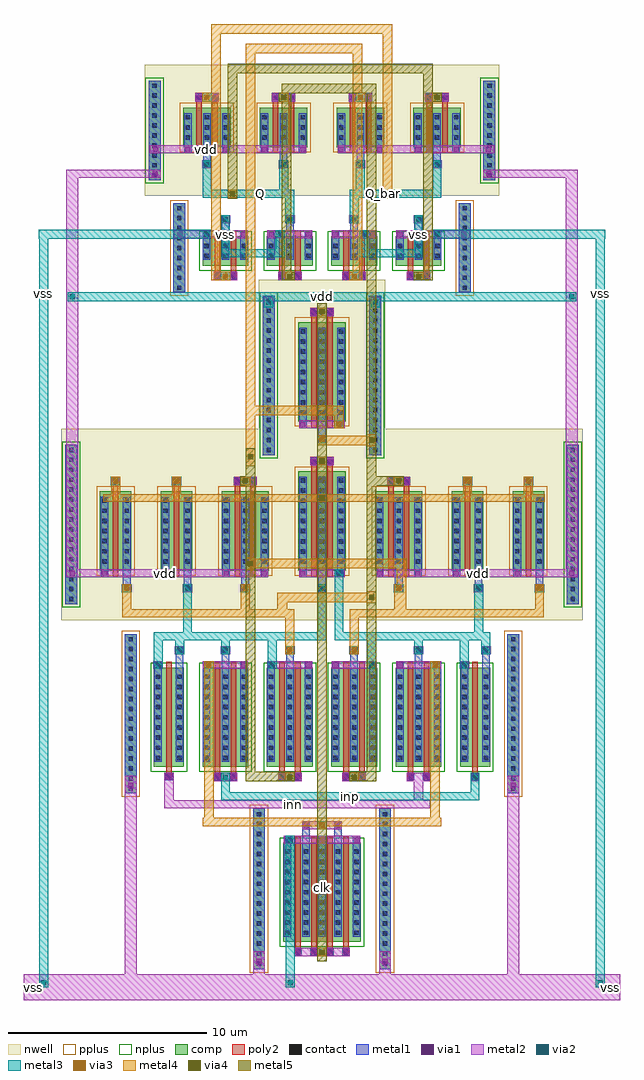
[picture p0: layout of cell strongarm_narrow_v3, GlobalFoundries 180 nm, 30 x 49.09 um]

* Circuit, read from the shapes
.subckt strongarm_narrow_v3 Q Q_bar clk inn inp vdd vss
XM1 n1 inn n1 vss nfet_03v3 w=5u l=0.28u
XM2 n1 inp n2 vss nfet_03v3 w=5u l=0.28u m=2
XM3 n3 Q_bar vss vss nfet_03v3 w=1.5u l=0.28u m=2
XM4 n4 n5 n1 vss nfet_03v3 w=5u l=0.28u m=2
XM5 Q n4 n3 vss nfet_03v3 w=1.5u l=0.28u m=2
XM6 n2 clk vss vss nfet_03v3 w=5u l=0.28u m=4
XM7 n5 n4 n6 vss nfet_03v3 w=5u l=0.28u m=2
XM8 Q_bar n5 n7 vss nfet_03v3 w=1.5u l=0.28u m=2
XM9 n6 inn n2 vss nfet_03v3 w=5u l=0.28u m=2
XM10 n7 Q vss vss nfet_03v3 w=1.5u l=0.28u m=2
XM11 n6 inp n6 vss nfet_03v3 w=5u l=0.28u
XM12 n4 clk vdd vdd pfet_03v3 w=4u l=0.28u
XM13 n1 clk vdd vdd pfet_03v3 w=4u l=0.28u
XM14 Q Q_bar vdd vdd pfet_03v3 w=2u l=0.28u m=2
XM15 n4 n5 vdd vdd pfet_03v3 w=4u l=0.28u m=2
XM16 Q n4 vdd vdd pfet_03v3 w=2u l=0.28u m=2
XM17 n1 clk n6 vdd pfet_03v3 w=5u l=0.28u m=2
XM18 n4 clk n5 vdd pfet_03v3 w=5u l=0.28u m=2
XM19 Q_bar n5 vdd vdd pfet_03v3 w=2u l=0.28u m=2
XM20 n5 n4 vdd vdd pfet_03v3 w=4u l=0.28u m=2
XM21 Q_bar Q vdd vdd pfet_03v3 w=2u l=0.28u m=2
XM22 n6 clk vdd vdd pfet_03v3 w=4u l=0.28u
XM23 n5 clk vdd vdd pfet_03v3 w=4u l=0.28u
.ends

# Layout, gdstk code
import gdstk
lib = gdstk.Library(unit=1e-6, precision=1e-09)
def R(c, l, rs):  # rectangles x0, y0, x1, y1
    for r in rs: c.add(gdstk.rectangle(r[:2], r[2:], *l))
def A(c, l, x, y, w, h, nx, ny, dx, dy):  # array of equal rectangles
    R(c, l, [(x+i*dx, y+j*dy, x+i*dx+w, y+j*dy+h) for i in range(nx) for j in range(ny)])
nwell = (21, 0)
comp = (22, 0)
poly2 = (30, 0)
pplus = (31, 0)
nplus = (32, 0)
contact = (33, 0)
metal1 = (34, 0)
via1 = (35, 0)
metal2 = (36, 0)
via2 = (38, 0)
via3 = (40, 0)
via4 = (41, 0)
metal3 = (42, 0)
metal4 = (46, 0)
metal5 = (81, 0)

strongarm_narrow_v3 = lib.new_cell('strongarm_narrow_v3')
A(strongarm_narrow_v3, nwell, 14.58, 41.8, 3.26, 2.88, 4, 1, 3.86, 0)
R(strongarm_narrow_v3, nwell, [(8.89,18.46,35.11,28.08), (10.39,20.5,12.85,25.38), (13.45,20.5,15.91,25.38), (16.51,20.5,19.77,25.38), (20.37,20.5,23.63,26.38), (24.23,20.5,27.49,25.38), (28.09,20.5,30.55,25.38), (31.15,20.5,33.61,25.38), (18.82,25.96,25.18,35.58), (20.37,28,23.63,33.88), (13.08,39.79,30.92,46.38)])
A(strongarm_narrow_v3, comp, 16.41, 11.07, 1.46, 5, 4, 1, 3.24, 0)
A(strongarm_narrow_v3, comp, 16.41, 36.27, 1.46, 1.5, 4, 1, 3.24, 0)
A(strongarm_narrow_v3, comp, 15.48, 42.24, 1.46, 2, 4, 1, 3.86, 0)
R(strongarm_narrow_v3, comp, [(18.53,0.89,19.13,9), (24.87,0.89,25.47,9), (20.05,2.27,20.47,7.27), (20.47,2.27,23.53,7.27), (23.53,2.27,23.95,7.27), (12.08,9.74,12.68,17.75), (31.32,9.74,31.92,17.75), (13.55,11.07,13.97,16.07), (13.97,11.07,14.63,16.07), (14.63,11.07,15.05,16.07), (15.99,11.07,16.41,16.07), (17.87,11.07,18.29,16.07), (19.23,11.07,19.65,16.07), (21.11,11.07,21.53,16.07), (22.47,11.07,22.89,16.07), (24.35,11.07,24.77,16.07), (25.71,11.07,26.13,16.07), (27.59,11.07,28.01,16.07), (28.95,11.07,29.37,16.07), (29.37,11.07,30.03,16.07), (30.03,11.07,30.45,16.07), (9.09,19.26,9.69,27.28), (34.31,19.26,34.91,27.28), (10.83,20.94,11.29,24.94), (11.29,20.94,11.95,24.94), (11.95,20.94,12.41,24.94), (13.89,20.94,14.35,24.94), (14.35,20.94,15.01,24.94), (15.01,20.94,15.47,24.94), (16.95,20.94,17.41,24.94), (17.41,20.94,18.87,24.94), (18.87,20.94,19.33,24.94), (20.81,20.94,21.27,25.94), (21.27,20.94,22.73,25.94), (22.73,20.94,23.19,25.94), (24.67,20.94,25.13,24.94), (25.13,20.94,26.59,24.94), (26.59,20.94,27.05,24.94), (28.53,20.94,28.99,24.94), (28.99,20.94,29.65,24.94), (29.65,20.94,30.11,24.94), (31.59,20.94,32.05,24.94), (32.05,20.94,32.71,24.94), (32.71,20.94,33.17,24.94), (19.02,26.76,19.62,34.78), (24.38,26.76,24.98,34.78), (20.81,28.44,21.27,33.44), (21.27,28.44,22.73,33.44), (22.73,28.44,23.19,33.44), (14.52,34.94,15.12,39.415), (28.88,34.94,29.48,39.415), (15.99,36.27,16.41,37.77), (17.87,36.27,18.29,37.77), (19.23,36.27,19.65,37.77), (21.11,36.27,21.53,37.77), (22.47,36.27,22.89,37.77), (24.35,36.27,24.77,37.77), (25.71,36.27,26.13,37.77), (27.59,36.27,28.01,37.77), (13.28,40.59,13.88,45.58), (30.12,40.59,30.72,45.58), (15.02,42.24,15.48,44.24), (16.94,42.24,17.4,44.24), (18.88,42.24,19.34,44.24), (20.8,42.24,21.26,44.24), (22.74,42.24,23.2,44.24), (24.66,42.24,25.12,44.24), (26.6,42.24,27.06,44.24), (28.52,42.24,28.98,44.24)])
A(strongarm_narrow_v3, poly2, 20.62, 1.61, 0.36, 0.36, 4, 1, 0.8, 0)
A(strongarm_narrow_v3, poly2, 20.66, 1.97, 0.28, 5.6, 4, 1, 0.8, 0)
A(strongarm_narrow_v3, poly2, 11.48, 20.64, 0.28, 4.6, 3, 1, 3.06, 0)
A(strongarm_narrow_v3, poly2, 26.12, 20.64, 0.28, 4.6, 3, 1, 3.06, 0)
A(strongarm_narrow_v3, poly2, 11.43, 25.24, 0.38, 0.38, 3, 1, 3.06, 0)
A(strongarm_narrow_v3, poly2, 26.07, 25.24, 0.38, 0.38, 3, 1, 3.06, 0)
R(strongarm_narrow_v3, poly2, [(14.12,10.41,14.48,10.77), (16.56,10.41,16.92,10.77), (17.36,10.41,17.72,10.77), (19.8,10.41,20.16,10.77), (20.6,10.41,20.96,10.77), (23.04,10.41,23.4,10.77), (23.84,10.41,24.2,10.77), (26.28,10.41,26.64,10.77), (27.08,10.41,27.44,10.77), (29.52,10.41,29.88,10.77), (14.16,10.77,14.44,16.37), (16.6,10.77,16.88,16.37), (17.4,10.77,17.68,16.37), (19.84,10.77,20.12,16.37), (20.64,10.77,20.92,16.37), (23.08,10.77,23.36,16.37), (23.88,10.77,24.16,16.37), (26.32,10.77,26.6,16.37), (27.12,10.77,27.4,16.37), (29.56,10.77,29.84,16.37), (18.4,20.64,18.68,25.24), (21.46,20.64,21.74,26.24), (22.26,20.64,22.54,26.24), (25.32,20.64,25.6,25.24), (18.35,25.24,18.73,25.62), (25.27,25.24,25.65,25.62), (21.41,26.24,21.79,26.62), (22.21,26.24,22.59,26.62), (21.46,28.14,21.74,33.74), (22.26,28.14,22.54,33.74), (21.41,33.74,21.79,34.12), (22.21,33.74,22.59,34.12), (16.56,35.61,16.92,35.97), (17.36,35.61,17.72,35.97), (19.8,35.61,20.16,35.97), (20.6,35.61,20.96,35.97), (23.04,35.61,23.4,35.97), (23.84,35.61,24.2,35.97), (26.28,35.61,26.64,35.97), (27.08,35.61,27.44,35.97), (16.6,35.97,16.88,38.07), (17.4,35.97,17.68,38.07), (19.84,35.97,20.12,38.07), (20.64,35.97,20.92,38.07), (23.08,35.97,23.36,38.07), (23.88,35.97,24.16,38.07), (26.32,35.97,26.6,38.07), (27.12,35.97,27.4,38.07), (15.67,41.94,15.95,44.54), (16.47,41.94,16.75,44.54), (19.53,41.94,19.81,44.54), (20.33,41.94,20.61,44.54), (23.39,41.94,23.67,44.54), (24.19,41.94,24.47,44.54), (27.25,41.94,27.53,44.54), (28.05,41.94,28.33,44.54), (15.62,44.54,16,44.92), (16.42,44.54,16.8,44.92), (19.48,44.54,19.86,44.92), (20.28,44.54,20.66,44.92), (23.34,44.54,23.72,44.92), (24.14,44.54,24.52,44.92), (27.2,44.54,27.58,44.92), (28,44.54,28.38,44.92)])
A(strongarm_narrow_v3, pplus, 14.85, 42, 2.72, 2.48, 4, 1, 3.86, 0)
R(strongarm_narrow_v3, pplus, [(18.37,0.73,19.29,9.16), (24.71,0.73,25.63,9.16), (11.92,9.58,12.84,17.91), (31.16,9.58,32.08,17.91), (10.66,20.7,12.58,25.18), (13.72,20.7,15.64,25.18), (16.78,20.7,19.5,25.18), (20.64,20.7,23.36,26.18), (24.5,20.7,27.22,25.18), (28.36,20.7,30.28,25.18), (31.42,20.7,33.34,25.18), (20.64,28.2,23.36,33.68), (14.36,34.78,15.28,39.575), (28.72,34.78,29.64,39.575)])
A(strongarm_narrow_v3, nplus, 15.82, 10.83, 2.64, 5.48, 4, 1, 3.24, 0)
A(strongarm_narrow_v3, nplus, 15.82, 36.03, 2.64, 1.98, 4, 1, 3.24, 0)
R(strongarm_narrow_v3, nplus, [(19.88,2.03,24.12,7.51), (13.38,10.83,15.22,16.31), (28.78,10.83,30.62,16.31), (8.93,19.1,9.85,27.44), (34.15,19.1,35.07,27.44), (18.86,26.6,19.78,34.94), (24.22,26.6,25.14,34.94), (13.12,40.43,14.04,45.74), (29.96,40.43,30.88,45.74)])
A(strongarm_narrow_v3, contact, 18.72, 1.085, 0.22, 0.22, 1, 16, 0, 0.5)
A(strongarm_narrow_v3, contact, 25.06, 1.085, 0.22, 0.22, 1, 16, 0, 0.5)
A(strongarm_narrow_v3, contact, 20.69, 1.68, 0.22, 0.22, 4, 1, 0.8, 0)
A(strongarm_narrow_v3, contact, 20.15, 2.62, 0.22, 0.22, 1, 9, 0, 0.51)
A(strongarm_narrow_v3, contact, 21.09, 2.62, 0.22, 0.22, 3, 9, 0.8, 0.51)
A(strongarm_narrow_v3, contact, 23.63, 2.62, 0.22, 0.22, 1, 9, 0, 0.51)
A(strongarm_narrow_v3, contact, 12.27, 9.885, 0.22, 0.22, 1, 16, 0, 0.5)
A(strongarm_narrow_v3, contact, 31.51, 9.885, 0.22, 0.22, 1, 16, 0, 0.5)
A(strongarm_narrow_v3, contact, 13.65, 11.42, 0.22, 0.22, 1, 9, 0, 0.51)
A(strongarm_narrow_v3, contact, 14.73, 11.42, 0.22, 0.22, 1, 9, 0, 0.51)
A(strongarm_narrow_v3, contact, 16.09, 11.42, 0.22, 0.22, 3, 9, 0.94, 0.51)
A(strongarm_narrow_v3, contact, 19.33, 11.42, 0.22, 0.22, 3, 9, 0.94, 0.51)
A(strongarm_narrow_v3, contact, 22.57, 11.42, 0.22, 0.22, 3, 9, 0.94, 0.51)
A(strongarm_narrow_v3, contact, 25.81, 11.42, 0.22, 0.22, 3, 9, 0.94, 0.51)
A(strongarm_narrow_v3, contact, 29.05, 11.42, 0.22, 0.22, 1, 9, 0, 0.51)
A(strongarm_narrow_v3, contact, 30.13, 11.42, 0.22, 0.22, 1, 9, 0, 0.51)
A(strongarm_narrow_v3, contact, 9.28, 19.41, 0.22, 0.22, 1, 16, 0, 0.5)
A(strongarm_narrow_v3, contact, 34.5, 19.41, 0.22, 0.22, 1, 16, 0, 0.5)
A(strongarm_narrow_v3, contact, 20.93, 21.29, 0.22, 0.22, 3, 9, 0.96, 0.51)
A(strongarm_narrow_v3, contact, 10.95, 21.3, 0.22, 0.22, 1, 7, 0, 0.51)
A(strongarm_narrow_v3, contact, 12.07, 21.3, 0.22, 0.22, 1, 7, 0, 0.51)
A(strongarm_narrow_v3, contact, 14.01, 21.3, 0.22, 0.22, 1, 7, 0, 0.51)
A(strongarm_narrow_v3, contact, 15.13, 21.3, 0.22, 0.22, 1, 7, 0, 0.51)
A(strongarm_narrow_v3, contact, 17.07, 21.3, 0.22, 0.22, 3, 7, 0.96, 0.51)
A(strongarm_narrow_v3, contact, 24.79, 21.3, 0.22, 0.22, 3, 7, 0.96, 0.51)
A(strongarm_narrow_v3, contact, 28.65, 21.3, 0.22, 0.22, 1, 7, 0, 0.51)
A(strongarm_narrow_v3, contact, 29.77, 21.3, 0.22, 0.22, 1, 7, 0, 0.51)
A(strongarm_narrow_v3, contact, 31.71, 21.3, 0.22, 0.22, 1, 7, 0, 0.51)
A(strongarm_narrow_v3, contact, 32.83, 21.3, 0.22, 0.22, 1, 7, 0, 0.51)
A(strongarm_narrow_v3, contact, 11.51, 25.32, 0.22, 0.22, 3, 1, 3.06, 0)
A(strongarm_narrow_v3, contact, 26.15, 25.32, 0.22, 0.22, 3, 1, 3.06, 0)
A(strongarm_narrow_v3, contact, 19.21, 26.91, 0.22, 0.22, 1, 16, 0, 0.5)
A(strongarm_narrow_v3, contact, 24.57, 26.91, 0.22, 0.22, 1, 16, 0, 0.5)
A(strongarm_narrow_v3, contact, 20.93, 28.79, 0.22, 0.22, 3, 9, 0.96, 0.51)
A(strongarm_narrow_v3, contact, 14.71, 35.065, 0.22, 0.22, 1, 9, 0, 0.5)
A(strongarm_narrow_v3, contact, 29.07, 35.065, 0.22, 0.22, 1, 9, 0, 0.5)
A(strongarm_narrow_v3, contact, 16.09, 36.655, 0.22, 0.22, 3, 2, 0.94, 0.51)
A(strongarm_narrow_v3, contact, 19.33, 36.655, 0.22, 0.22, 3, 2, 0.94, 0.51)
A(strongarm_narrow_v3, contact, 22.57, 36.655, 0.22, 0.22, 3, 2, 0.94, 0.51)
A(strongarm_narrow_v3, contact, 25.81, 36.655, 0.22, 0.22, 3, 2, 0.94, 0.51)
A(strongarm_narrow_v3, contact, 13.47, 40.725, 0.22, 0.22, 1, 10, 0, 0.5)
A(strongarm_narrow_v3, contact, 30.31, 40.725, 0.22, 0.22, 1, 10, 0, 0.5)
A(strongarm_narrow_v3, contact, 15.14, 42.62, 0.22, 0.22, 3, 3, 0.96, 0.51)
A(strongarm_narrow_v3, contact, 19, 42.62, 0.22, 0.22, 3, 3, 0.96, 0.51)
A(strongarm_narrow_v3, contact, 22.86, 42.62, 0.22, 0.22, 3, 3, 0.96, 0.51)
A(strongarm_narrow_v3, contact, 26.72, 42.62, 0.22, 0.22, 3, 3, 0.96, 0.51)
R(strongarm_narrow_v3, contact, [(14.19,10.48,14.41,10.7), (16.63,10.48,16.85,10.7), (17.43,10.48,17.65,10.7), (19.87,10.48,20.09,10.7), (20.67,10.48,20.89,10.7), (23.11,10.48,23.33,10.7), (23.91,10.48,24.13,10.7), (26.35,10.48,26.57,10.7), (27.15,10.48,27.37,10.7), (29.59,10.48,29.81,10.7), (18.43,25.32,18.65,25.54), (25.35,25.32,25.57,25.54), (21.49,26.32,21.71,26.54), (22.29,26.32,22.51,26.54), (21.49,33.82,21.71,34.04), (22.29,33.82,22.51,34.04), (16.63,35.68,16.85,35.9), (17.43,35.68,17.65,35.9), (19.87,35.68,20.09,35.9), (20.67,35.68,20.89,35.9), (23.11,35.68,23.33,35.9), (23.91,35.68,24.13,35.9), (26.35,35.68,26.57,35.9), (27.15,35.68,27.37,35.9), (15.7,44.62,15.92,44.84), (16.5,44.62,16.72,44.84), (19.56,44.62,19.78,44.84), (20.36,44.62,20.58,44.84), (23.42,44.62,23.64,44.84), (24.22,44.62,24.44,44.84), (27.28,44.62,27.5,44.84), (28.08,44.62,28.3,44.84)])
A(strongarm_narrow_v3, metal1, 20.61, 1.6, 0.38, 0.38, 4, 1, 0.8, 0)
A(strongarm_narrow_v3, metal1, 21.01, 2.54, 0.38, 4.46, 3, 1, 0.8, 0)
A(strongarm_narrow_v3, metal1, 20.07, 6.95, 0.38, 0.65, 3, 1, 1.74, 0)
A(strongarm_narrow_v3, metal1, 16.01, 11.34, 0.38, 4.46, 3, 1, 0.94, 0)
A(strongarm_narrow_v3, metal1, 19.25, 11.34, 0.38, 4.46, 3, 1, 0.94, 0)
A(strongarm_narrow_v3, metal1, 22.49, 11.34, 0.38, 4.46, 3, 1, 0.94, 0)
A(strongarm_narrow_v3, metal1, 25.73, 11.34, 0.38, 4.46, 3, 1, 0.94, 0)
A(strongarm_narrow_v3, metal1, 16.95, 15.75, 0.38, 1.4, 4, 2, 3.24, 21.665)
A(strongarm_narrow_v3, metal1, 10.87, 20.62, 0.38, 0.65, 3, 1, 3.06, 0)
A(strongarm_narrow_v3, metal1, 20.85, 21.21, 0.38, 4.46, 3, 2, 0.96, 7.5)
A(strongarm_narrow_v3, metal1, 16.99, 21.22, 0.38, 3.44, 3, 1, 0.96, 0)
A(strongarm_narrow_v3, metal1, 24.71, 21.22, 0.38, 3.44, 3, 1, 0.96, 0)
A(strongarm_narrow_v3, metal1, 11.43, 25.24, 0.38, 0.38, 3, 1, 3.06, 0)
A(strongarm_narrow_v3, metal1, 26.07, 25.24, 0.38, 0.38, 3, 1, 3.06, 0)
A(strongarm_narrow_v3, metal1, 16.01, 36.575, 0.38, 0.89, 3, 1, 0.94, 0)
A(strongarm_narrow_v3, metal1, 19.25, 36.575, 0.38, 0.89, 3, 1, 0.94, 0)
A(strongarm_narrow_v3, metal1, 22.49, 36.575, 0.38, 0.89, 3, 1, 0.94, 0)
A(strongarm_narrow_v3, metal1, 25.73, 36.575, 0.38, 0.89, 3, 1, 0.94, 0)
A(strongarm_narrow_v3, metal1, 16.02, 41.19, 0.38, 1.4, 4, 1, 3.86, 0)
A(strongarm_narrow_v3, metal1, 15.06, 42.54, 0.38, 1.4, 3, 1, 0.96, 0)
A(strongarm_narrow_v3, metal1, 18.92, 42.54, 0.38, 1.4, 3, 1, 0.96, 0)
A(strongarm_narrow_v3, metal1, 22.78, 42.54, 0.38, 1.4, 3, 1, 0.96, 0)
A(strongarm_narrow_v3, metal1, 26.64, 42.54, 0.38, 1.4, 3, 1, 0.96, 0)
R(strongarm_narrow_v3, metal1, [(18.53,0.89,19.13,9), (24.87,0.89,25.47,9), (20.07,2.54,20.45,7), (23.55,2.54,23.93,7), (21.01,6.95,21.39,8.35), (22.61,6.95,22.99,8.35), (12.08,9.74,12.68,17.75), (31.32,9.74,31.92,17.75), (14.11,10.4,14.49,10.78), (16.55,10.4,16.93,10.78), (17.35,10.4,17.73,10.78), (19.79,10.4,20.17,10.78), (20.59,10.4,20.97,10.78), (23.03,10.4,23.41,10.78), (23.83,10.4,24.21,10.78), (26.27,10.4,26.65,10.78), (27.07,10.4,27.45,10.78), (29.51,10.4,29.89,10.78), (13.57,11.34,13.95,15.8), (14.65,11.34,15.03,15.8), (28.97,11.34,29.35,15.8), (30.05,11.34,30.43,15.8), (13.57,15.75,13.95,16.4), (14.65,15.75,15.03,17.15), (16.01,15.75,16.39,16.4), (17.89,15.75,18.27,16.4), (19.25,15.75,19.63,16.4), (21.13,15.75,21.51,16.4), (22.49,15.75,22.87,16.4), (24.37,15.75,24.75,16.4), (25.73,15.75,26.11,16.4), (27.61,15.75,27.99,16.4), (28.97,15.75,29.35,16.4), (30.05,15.75,30.43,17.15), (9.09,19.26,9.69,27.28), (34.31,19.26,34.91,27.28), (21.81,19.86,22.19,21.26), (11.99,19.87,12.37,21.27), (15.05,19.87,15.43,21.27), (17.95,19.87,18.33,21.27), (25.67,19.87,26.05,21.27), (29.69,19.87,30.07,21.27), (32.75,19.87,33.13,21.27), (20.85,20.61,21.23,21.26), (22.77,20.61,23.15,21.26), (18.91,20.62,19.29,21.27), (24.71,20.62,25.09,21.27), (26.63,20.62,27.01,21.27), (28.57,20.62,28.95,21.27), (31.63,20.62,32.01,21.27), (10.87,21.22,11.25,24.66), (11.99,21.22,12.37,24.66), (13.93,21.22,14.31,24.66), (15.05,21.22,15.43,24.66), (28.57,21.22,28.95,24.66), (29.69,21.22,30.07,24.66), (31.63,21.22,32.01,24.66), (32.75,21.22,33.13,24.66), (18.35,25.24,18.73,25.62), (25.27,25.24,25.65,25.62), (21.41,26.24,21.79,26.62), (22.21,26.24,22.59,26.62), (19.02,26.76,19.62,34.78), (24.38,26.76,24.98,34.78), (21.81,27.36,22.19,28.76), (20.85,28.11,21.23,28.76), (22.77,28.11,23.15,28.76), (21.41,33.74,21.79,34.12), (22.21,33.74,22.59,34.12), (14.52,34.94,15.12,39.415), (28.88,34.94,29.48,39.415), (16.55,35.6,16.93,35.98), (17.35,35.6,17.73,35.98), (19.79,35.6,20.17,35.98), (20.59,35.6,20.97,35.98), (23.03,35.6,23.41,35.98), (23.83,35.6,24.21,35.98), (26.27,35.6,26.65,35.98), (27.07,35.6,27.45,35.98), (16.01,37.415,16.39,38.065), (17.89,37.415,18.27,38.065), (19.25,37.415,19.63,38.065), (21.13,37.415,21.51,38.065), (22.49,37.415,22.87,38.065), (24.37,37.415,24.75,38.065), (25.73,37.415,26.11,38.065), (27.61,37.415,27.99,38.065), (13.28,40.59,13.88,45.58), (30.12,40.59,30.72,45.58), (15.06,41.94,15.44,42.59), (16.98,41.94,17.36,42.59), (18.92,41.94,19.3,42.59), (20.84,41.94,21.22,42.59), (22.78,41.94,23.16,42.59), (24.7,41.94,25.08,42.59), (26.64,41.94,27.02,42.59), (28.56,41.94,28.94,42.59), (15.62,44.54,16,44.92), (16.42,44.54,16.8,44.92), (19.48,44.54,19.86,44.92), (20.28,44.54,20.66,44.92), (23.34,44.54,23.72,44.92), (24.14,44.54,24.52,44.92), (27.2,44.54,27.58,44.92), (28,44.54,28.38,44.92)])
A(strongarm_narrow_v3, via1, 20.67, 1.66, 0.26, 0.26, 4, 1, 0.8, 0)
A(strongarm_narrow_v3, via1, 20.13, 7.27, 0.26, 0.26, 3, 1, 1.74, 0)
A(strongarm_narrow_v3, via1, 17.01, 16.82, 0.26, 0.26, 4, 2, 3.24, 21.665)
A(strongarm_narrow_v3, via1, 10.93, 20.69, 0.26, 0.26, 3, 1, 3.06, 0)
A(strongarm_narrow_v3, via1, 11.49, 25.3, 0.26, 0.26, 3, 1, 3.06, 0)
A(strongarm_narrow_v3, via1, 26.13, 25.3, 0.26, 0.26, 3, 1, 3.06, 0)
A(strongarm_narrow_v3, via1, 16.08, 41.26, 0.26, 0.26, 4, 1, 3.86, 0)
R(strongarm_narrow_v3, via1, [(18.7,1.16,18.96,1.42), (25.04,1.16,25.3,1.42), (21.07,8.02,21.33,8.28), (22.67,8.02,22.93,8.28), (12.25,10.01,12.51,10.27), (31.49,10.01,31.75,10.27), (14.17,10.46,14.43,10.72), (16.61,10.46,16.87,10.72), (17.41,10.46,17.67,10.72), (19.85,10.46,20.11,10.72), (20.65,10.46,20.91,10.72), (23.09,10.46,23.35,10.72), (23.89,10.46,24.15,10.72), (26.33,10.46,26.59,10.72), (27.13,10.46,27.39,10.72), (29.57,10.46,29.83,10.72), (13.63,16.07,13.89,16.33), (16.07,16.07,16.33,16.33), (17.95,16.07,18.21,16.33), (19.31,16.07,19.57,16.33), (21.19,16.07,21.45,16.33), (22.55,16.07,22.81,16.33), (24.43,16.07,24.69,16.33), (25.79,16.07,26.05,16.33), (27.67,16.07,27.93,16.33), (29.03,16.07,29.29,16.33), (14.71,16.82,14.97,17.08), (30.11,16.82,30.37,17.08), (21.87,19.93,22.13,20.19), (12.05,19.94,12.31,20.2), (15.11,19.94,15.37,20.2), (18.01,19.94,18.27,20.2), (25.73,19.94,25.99,20.2), (29.75,19.94,30.01,20.2), (32.81,19.94,33.07,20.2), (20.91,20.68,21.17,20.94), (22.83,20.68,23.09,20.94), (9.31,20.69,9.57,20.95), (18.97,20.69,19.23,20.95), (24.77,20.69,25.03,20.95), (26.69,20.69,26.95,20.95), (28.63,20.69,28.89,20.95), (31.69,20.69,31.95,20.95), (34.43,20.69,34.69,20.95), (18.41,25.3,18.67,25.56), (25.33,25.3,25.59,25.56), (21.47,26.3,21.73,26.56), (22.27,26.3,22.53,26.56), (21.87,27.43,22.13,27.69), (20.91,28.18,21.17,28.44), (22.83,28.18,23.09,28.44), (21.47,33.8,21.73,34.06), (22.27,33.8,22.53,34.06), (19.19,34.32,19.45,34.58), (24.55,34.32,24.81,34.58), (16.61,35.66,16.87,35.92), (17.41,35.66,17.67,35.92), (19.85,35.66,20.11,35.92), (20.65,35.66,20.91,35.92), (23.09,35.66,23.35,35.92), (23.89,35.66,24.15,35.92), (26.33,35.66,26.59,35.92), (27.13,35.66,27.39,35.92), (14.74,37.735,15,37.995), (16.07,37.735,16.33,37.995), (17.95,37.735,18.21,37.995), (19.31,37.735,19.57,37.995), (21.19,37.735,21.45,37.995), (22.55,37.735,22.81,37.995), (24.43,37.735,24.69,37.995), (25.79,37.735,26.05,37.995), (27.67,37.735,27.93,37.995), (29,37.735,29.26,37.995), (13.475,40.77,13.735,41.03), (30.265,40.77,30.525,41.03), (13.5,42.01,13.76,42.27), (15.12,42.01,15.38,42.27), (17.04,42.01,17.3,42.27), (18.98,42.01,19.24,42.27), (20.9,42.01,21.16,42.27), (22.84,42.01,23.1,42.27), (24.76,42.01,25.02,42.27), (26.7,42.01,26.96,42.27), (28.62,42.01,28.88,42.27), (30.24,42.01,30.5,42.27), (15.68,44.6,15.94,44.86), (16.48,44.6,16.74,44.86), (19.54,44.6,19.8,44.86), (20.34,44.6,20.6,44.86), (23.4,44.6,23.66,44.86), (24.2,44.6,24.46,44.86), (27.26,44.6,27.52,44.86), (28.06,44.6,28.32,44.86)])
A(strongarm_narrow_v3, metal2, 16.55, 10.34, 1.18, 0.44, 4, 2, 3.24, 25.2)
A(strongarm_narrow_v3, metal2, 16.01, 16, 2.26, 0.4, 4, 2, 3.24, 21.665)
A(strongarm_narrow_v3, metal2, 16.9, 16.75, 0.48, 0.4, 4, 2, 3.24, 21.665)
A(strongarm_narrow_v3, metal2, 16.95, 16.75, 0.38, 0.4, 4, 2, 3.24, 21.665)
A(strongarm_narrow_v3, metal2, 16.9, 35.54, 0.48, 0.44, 4, 1, 3.24, 0)
A(strongarm_narrow_v3, metal2, 15.97, 41.19, 0.48, 0.4, 4, 1, 3.86, 0)
A(strongarm_narrow_v3, metal2, 16.02, 41.19, 0.38, 0.4, 4, 1, 3.86, 0)
A(strongarm_narrow_v3, metal2, 15.06, 41.94, 2.3, 0.4, 4, 1, 3.86, 0)
A(strongarm_narrow_v3, metal2, 15.62, 44.54, 1.18, 0.44, 4, 1, 3.86, 0)
A(strongarm_narrow_v3, metal2, 15.97, 44.54, 0.48, 0.44, 4, 1, 3.86, 0)
R(strongarm_narrow_v3, metal2, [(7,-0.65,37,0.65), (12.08,0,12.68,10.64), (18.53,0,19.13,1.79), (20.15,0,20.65,0.3), (24.87,0,25.47,1.79), (31.32,0,31.92,10.64), (20.61,1.54,23.39,1.98), (21.76,1.54,22.24,1.98), (20.07,7.2,23.93,7.6), (21.01,7.95,22.99,8.35), (14.06,9,14.54,10.78), (14.11,9,27.45,9.4), (26.62,9,27.1,10.78), (14.11,10.34,14.49,10.78), (20.14,10.34,20.62,10.78), (23.38,10.34,23.86,10.78), (29.51,10.34,29.89,10.78), (13.52,16,14,16.4), (13.57,16,13.95,16.4), (19.26,16,19.74,16.4), (24.26,16,24.74,16.4), (28.92,16,29.4,16.4), (28.97,16,29.35,16.4), (14.6,16.75,15.08,17.15), (14.65,16.75,15.03,17.15), (30,16.75,30.48,17.15), (30.05,16.75,30.43,17.15), (21.76,19.86,22.24,20.26), (21.81,19.86,22.19,20.26), (11.94,19.87,12.42,20.27), (11.99,19.87,12.37,20.27), (15,19.87,15.48,20.27), (15.05,19.87,15.43,20.27), (17.9,19.87,18.38,20.27), (17.95,19.87,18.33,20.27), (25.62,19.87,26.1,20.27), (25.67,19.87,26.05,20.27), (29.64,19.87,30.12,20.27), (29.69,19.87,30.07,20.27), (32.7,19.87,33.18,20.27), (32.75,19.87,33.13,20.27), (20.85,20.61,23.15,21.01), (22.61,20.61,23.09,21.01), (9.14,20.62,9.74,41.1), (9.14,20.62,10.87,21.02), (10.87,20.62,11.25,21.02), (10.87,20.62,19.29,21.02), (13.93,20.62,14.31,21.02), (16.99,20.62,19.29,21.02), (24.71,20.62,27.01,21.02), (24.71,20.62,33.13,21.02), (28.57,20.62,28.95,21.02), (31.63,20.62,32.01,21.02), (33.13,20.62,34.86,21.02), (34.26,20.62,34.86,41.1), (11.38,25.24,11.86,25.68), (11.43,25.24,11.81,25.68), (14.44,25.24,14.92,25.68), (14.49,25.24,14.87,25.68), (17.55,25.24,18.73,25.68), (17.9,25.24,18.38,25.68), (25.27,25.24,26.45,25.68), (25.62,25.24,26.1,25.68), (29.08,25.24,29.56,25.68), (29.13,25.24,29.51,25.68), (32.14,25.24,32.62,25.68), (32.19,25.24,32.57,25.68), (21.41,26.24,22.59,26.68), (21.76,26.24,22.24,26.68), (21.76,27.36,22.24,27.76), (21.81,27.36,22.19,27.76), (20.85,28.11,23.15,28.51), (22.61,28.11,23.09,28.51), (21.41,33.74,22.59,34.18), (21.76,33.74,22.24,34.18), (19.08,34.2,19.56,34.7), (24.44,34.2,24.92,34.7), (14.57,37.665,16.01,38.065), (19.66,37.665,20.14,38.065), (23.86,37.665,24.34,38.065), (27.59,37.665,29.43,38.065), (9.14,40.7,13.88,41.1), (30.12,40.7,34.86,41.1), (13.33,41.94,15.06,42.34), (15.06,41.94,21.22,42.34), (22.78,41.94,28.94,42.34), (28.94,41.94,30.67,42.34)])
A(strongarm_narrow_v3, via2, 17.01, 10.43, 0.26, 0.26, 3, 1, 3.24, 0)
A(strongarm_narrow_v3, via2, 17.01, 16.82, 0.26, 0.26, 4, 2, 3.24, 18.81)
A(strongarm_narrow_v3, via2, 17.01, 38.485, 0.26, 0.26, 4, 1, 3.24, 0)
A(strongarm_narrow_v3, via2, 16.08, 41.26, 0.26, 0.26, 4, 2, 3.86, 3.37)
R(strongarm_narrow_v3, via2, [(7.87,0.09,8.13,0.35), (20.27,0.09,20.53,0.35), (35.87,0.09,36.13,0.35), (21.87,1.63,22.13,1.89), (20.27,7.27,20.53,7.53), (21.87,8.02,22.13,8.28), (29.57,10.43,29.83,10.69), (13.63,16.07,13.89,16.33), (16.18,16.07,16.44,16.33), (19.37,16.07,19.63,16.33), (24.37,16.07,24.63,16.33), (27.56,16.07,27.82,16.33), (29.03,16.07,29.29,16.33), (14.71,16.82,14.97,17.08), (30.11,16.82,30.37,17.08), (21.87,19.93,22.13,20.19), (12.05,19.94,12.31,20.2), (15.11,19.94,15.37,20.2), (18.01,19.94,18.27,20.2), (25.73,19.94,25.99,20.2), (29.75,19.94,30.01,20.2), (32.81,19.94,33.07,20.2), (22.72,20.68,22.98,20.94), (11.49,25.33,11.75,25.59), (14.55,25.33,14.81,25.59), (18.01,25.33,18.27,25.59), (25.73,25.33,25.99,25.59), (29.19,25.33,29.45,25.59), (32.25,25.33,32.51,25.59), (21.87,26.33,22.13,26.59), (21.87,27.43,22.13,27.69), (22.72,28.18,22.98,28.44), (21.87,33.83,22.13,34.09), (19.19,34.32,19.45,34.58), (24.55,34.32,24.81,34.58), (9.31,34.59,9.57,34.85), (34.43,34.59,34.69,34.85), (16.08,37.735,16.34,37.995), (19.77,37.735,20.03,37.995), (23.97,37.735,24.23,37.995), (27.66,37.735,27.92,37.995)])
A(strongarm_narrow_v3, via3, 17.01, 35.63, 0.26, 0.26, 4, 1, 3.24, 0)
A(strongarm_narrow_v3, via3, 16.08, 44.63, 0.26, 0.26, 4, 1, 3.86, 0)
R(strongarm_narrow_v3, via3, [(21.87,1.63,22.13,1.89), (21.87,8.02,22.13,8.28), (20.25,10.43,20.51,10.69), (23.49,10.43,23.75,10.69), (16.18,16.07,16.44,16.33), (27.56,16.07,27.82,16.33), (20.25,16.82,20.51,17.08), (23.49,16.82,23.75,17.08), (12.05,19.94,12.31,20.2), (18.01,19.94,18.27,20.2), (25.73,19.94,25.99,20.2), (32.81,19.94,33.07,20.2), (11.49,25.33,11.75,25.59), (14.55,25.33,14.81,25.59), (18.01,25.33,18.27,25.59), (25.73,25.33,25.99,25.59), (29.19,25.33,29.45,25.59), (32.25,25.33,32.51,25.59), (21.87,26.33,22.13,26.59), (21.87,27.43,22.13,27.69), (22.72,28.18,22.98,28.44), (21.87,33.83,22.13,34.09), (17.37,39.77,17.63,40.03), (25.17,39.77,25.43,40.03)])
R(strongarm_narrow_v3, via4, [(21.87,1.63,22.13,1.89), (20.25,10.43,20.51,10.69), (23.49,10.43,23.75,10.69), (24.37,19.47,24.63,19.73), (18.27,21.17,18.53,21.43), (21.87,24.47,22.13,24.73), (18.01,25.33,18.27,25.59), (25.73,25.33,25.99,25.59), (21.87,26.33,22.13,26.59), (18.27,26.55,18.53,26.81), (24.37,27.37,24.63,27.63), (21.87,33.83,22.13,34.09), (20.25,35.63,20.51,35.89), (26.73,35.63,26.99,35.89), (17.37,39.77,17.63,40.03), (19.94,44.63,20.2,44.89), (27.66,44.63,27.92,44.89)])
A(strongarm_narrow_v3, metal3, 16.9, 35.54, 0.48, 0.44, 4, 1, 3.24, 0)
A(strongarm_narrow_v3, metal3, 15.99, 39.7, 0.44, 1.89, 4, 1, 3.86, 0)
A(strongarm_narrow_v3, metal3, 15.97, 44.54, 0.48, 0.44, 4, 1, 3.86, 0)
R(strongarm_narrow_v3, metal3, [(7.78,0,8.22,38.085), (20.18,0,20.62,7.6), (35.78,0,36.22,38.085), (21.76,1.54,22.24,1.98), (21.76,7.95,22.24,8.35), (16.92,9.4,17.36,10.78), (16.94,9.4,29.9,9.8), (29.48,9.4,29.92,10.78), (20.14,10.34,20.62,10.78), (23.38,10.34,23.86,10.78), (13.54,16,13.98,17.85), (16.07,16,16.55,16.4), (19.28,16,19.72,17.85), (24.28,16,24.72,17.85), (27.45,16,27.93,16.4), (28.94,16,29.38,17.85), (14.62,16.75,15.06,17.85), (16.92,16.75,17.36,17.85), (20.14,16.75,20.62,17.15), (23.38,16.75,23.86,17.15), (26.64,16.75,27.08,17.85), (30.02,16.75,30.46,17.85), (13.56,17.45,22.2,17.85), (15.02,17.45,15.46,20.27), (21.78,17.45,22.22,20.26), (22.63,17.45,23.07,21.01), (22.65,17.45,30.44,17.85), (29.66,17.45,30.1,20.27), (11.94,19.87,12.42,20.27), (17.9,19.87,18.38,20.27), (25.62,19.87,26.1,20.27), (32.7,19.87,33.18,20.27), (11.38,25.24,11.86,25.68), (14.44,25.24,14.92,25.68), (17.9,25.24,18.38,25.68), (25.62,25.24,26.1,25.68), (29.08,25.24,29.56,25.68), (32.14,25.24,32.62,25.68), (21.76,26.24,22.24,26.68), (21.76,27.36,22.24,27.76), (22.61,28.11,23.09,28.51), (21.76,33.74,22.24,34.18), (19.08,34.2,19.56,34.94), (24.44,34.2,24.92,34.94), (9.2,34.5,34.8,34.94), (16.92,36.7,17.36,38.815), (16.94,36.7,20.1,37.1), (19.68,36.7,20.12,38.065), (23.88,36.7,24.32,38.065), (23.9,36.7,27.06,37.1), (26.64,36.7,27.08,38.815), (7.76,37.645,16.45,38.085), (27.55,37.645,36.24,38.085), (20.16,38.415,20.6,40.1), (23.4,38.415,23.84,40.1), (16.01,39.7,20.58,40.1), (17.26,39.7,17.74,40.1), (23.42,39.7,27.99,40.1), (25.06,39.7,25.54,40.1)])
A(strongarm_narrow_v3, metal4, 16.9, 35.54, 0.48, 0.44, 4, 1, 3.24, 0)
A(strongarm_narrow_v3, metal4, 15.97, 44.54, 0.48, 0.44, 4, 1, 3.86, 0)
R(strongarm_narrow_v3, metal4, [(21.76,1.54,22.24,1.98), (21.76,7.95,22.24,8.35), (21.76,7.95,22.24,8.35), (16.01,8.08,27.99,8.52), (16.07,8.3,16.55,16.4), (27.45,8.3,27.93,16.4), (20.14,10.34,20.62,10.78), (23.38,10.34,23.86,10.78), (16.07,16,16.55,16.4), (27.45,16,27.93,16.4), (20.16,16.75,20.6,19), (23.4,16.75,23.84,19), (11.96,18.6,12.4,20.27), (11.98,18.6,20.58,19), (17.92,18.6,18.36,20.27), (19.76,18.6,20.24,19.84), (23.42,18.6,33.14,19), (25.64,18.6,26.08,20.27), (25.76,18.6,26.24,21.54), (32.72,18.6,33.16,20.27), (24.26,19.3,24.74,19.9), (19.76,19.36,24.74,19.84), (18.16,21,18.64,21.6), (18.16,21.06,26.24,21.54), (11,24.4,33.2,24.8), (11.4,24.4,11.84,25.68), (14.46,24.4,14.9,25.68), (29.1,24.4,29.54,25.68), (32.16,24.4,32.6,25.68), (17.9,25.24,18.38,25.68), (25.62,25.24,26.1,25.68), (18.16,26.2,18.64,27.1), (21.76,26.24,22.24,26.68), (18.16,27.1,18.64,47.2), (24.26,27.2,24.74,27.8), (21.76,27.26,24.74,27.74), (21.76,27.36,22.24,27.76), (21.76,27.36,22.24,27.76), (22.61,28.11,23.09,28.51), (22.61,28.11,23.09,29), (18.16,28.76,23.09,29.24), (21.76,33.74,22.24,34.18), (16.435,35.54,16.915,48.2), (23.535,35.54,24.015,47.2), (25.06,39.66,25.54,40.14), (17.26,39.7,17.74,40.1), (25.06,39.7,25.54,40.1), (25.06,39.9,25.54,48.2), (18.16,46.96,24.015,47.44), (16.435,47.96,25.54,48.44)])
R(strongarm_narrow_v3, metal5, [(21.76,1.3,22.24,34.4), (21.76,1.54,22.24,1.98), (20.14,10.34,20.62,10.78), (23.38,10.34,23.86,10.78), (18.16,10.36,20.62,10.84), (23.38,10.36,24.74,10.84), (18.16,10.4,18.64,25.6), (24.26,10.4,24.74,25.6), (24.26,25.2,24.74,45.2), (17.9,25.22,18.64,25.7), (24.26,25.22,26.1,25.7), (17.9,25.24,18.38,25.68), (25.62,25.24,26.1,25.68), (18.16,25.4,18.64,27.1), (21.76,26.24,22.24,26.68), (21.76,33.74,22.24,34.18), (19.985,35.54,20.465,45.2), (20.14,35.54,20.62,35.98), (26.62,35.54,27.1,35.98), (27.085,35.54,27.565,46.2), (17.26,39.66,17.74,40.14), (17.26,39.7,17.74,40.1), (17.26,39.9,17.74,46.2), (19.83,44.54,20.31,44.98), (27.55,44.54,28.03,44.98), (19.985,44.96,24.74,45.44), (17.26,45.96,27.565,46.44)])
strongarm_narrow_v3.add(gdstk.Label('vss', (7.5,0), layer=36, texttype=10))
strongarm_narrow_v3.add(gdstk.Label('vss', (36.5,0), layer=36, texttype=10))
strongarm_narrow_v3.add(gdstk.Label('vdd', (14.12,20.82), layer=36, texttype=10))
strongarm_narrow_v3.add(gdstk.Label('vdd', (29.88,20.82), layer=36, texttype=10))
strongarm_narrow_v3.add(gdstk.Label('inn', (20.58,9.2), layer=36, texttype=10))
strongarm_narrow_v3.add(gdstk.Label('vdd', (16.21,42.14), layer=36, texttype=10))
strongarm_narrow_v3.add(gdstk.Label('vss', (17.14,37.865), layer=36, texttype=10))
strongarm_narrow_v3.add(gdstk.Label('vss', (26.86,37.865), layer=36, texttype=10))
strongarm_narrow_v3.add(gdstk.Label('inp', (23.42,9.6), layer=42, texttype=10))
strongarm_narrow_v3.add(gdstk.Label('Q', (18.885,39.9), layer=42, texttype=10))
strongarm_narrow_v3.add(gdstk.Label('Q_bar', (25.115,39.9), layer=42, texttype=10))
strongarm_narrow_v3.add(gdstk.Label('vss', (8,34.865), layer=42, texttype=10))
strongarm_narrow_v3.add(gdstk.Label('vss', (36,34.865), layer=42, texttype=10))
strongarm_narrow_v3.add(gdstk.Label('vdd', (22,34.72), layer=42, texttype=10))
strongarm_narrow_v3.add(gdstk.Label('clk', (22,5), layer=81, texttype=10))

lib.write_gds('strongarm_narrow_v3.gds')
